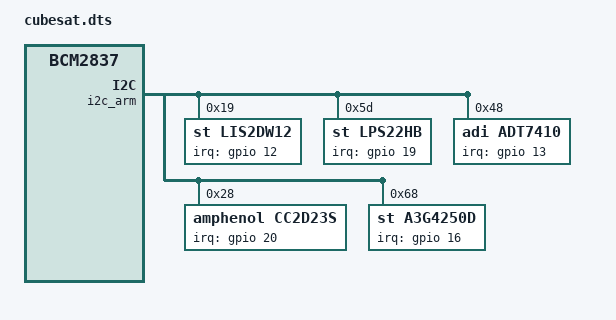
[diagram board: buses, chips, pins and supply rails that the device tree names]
/dts-v1/;
/plugin/;

/ {
    compatible = "brcm,bcm2837";
};

&i2c_arm {
    status = "okay";

    #address-cells = <1>;
    #size-cells = <0>;
    
    lis2dw12@19 {
        status = "okay";
        compatible = "st,lis2dw12";
        reg = <0x19>;
        st,drdy-int-pin = <1>;
        interrupt-parent = <&gpio>;
        interrupts = <12>, <21>;
    };

    lps22hb@5d {
        status = "okay";
        compatible = "st,lps22hb";
        reg = <0x5d>;
        interrupt-parent = <&gpio>;
        interrupts = <19>;
    };

    adt7410@48 {
        status = "okay";
        compatible = "adi,adt7410";
        reg = <0x48>;
        interrupt-parent = <&gpio>;
        interrupts = <13>;
    };

    cc2d23s@28 {
        status = "okay";
        compatible = "amphenol,cc2d23s", "amphenol,cc2d23";
        reg = <0x28>;
        interrupt-parent = <&gpio>;
        interrupts = <20>, <6>;
        interrupt-names = "ready";
    };

    a3g4250d@68 {
        status = "okay";
        compatible = "st,a3g4250d";
        reg = <0x68>;
        interrupt-parent = <&gpio>;
        interrupts = <16>;
    };
};
